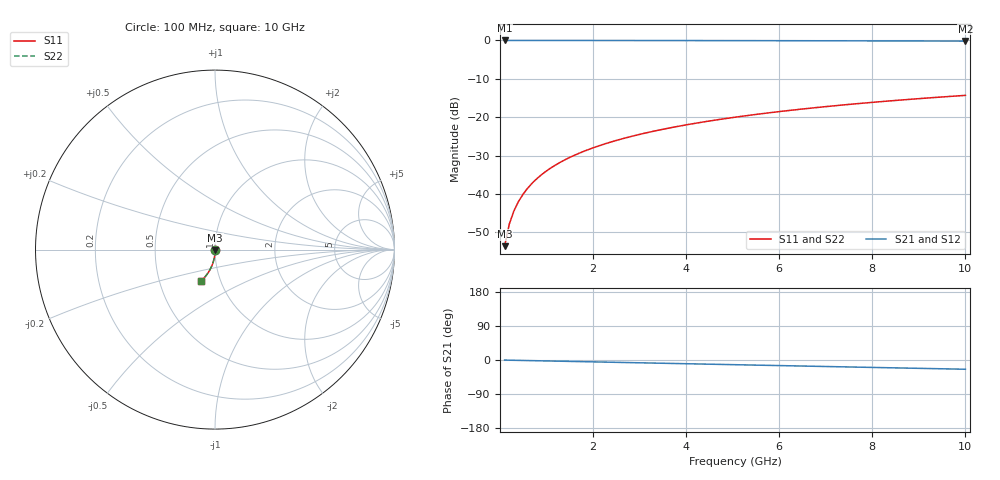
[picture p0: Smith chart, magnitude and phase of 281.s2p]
# Hz S RI R 50.00
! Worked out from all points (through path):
!   100 points, 100 MHz to 10 GHz, reference 50 ohm
!   highest |S21| = -0.01 dB at 100 MHz (marker M1); lowest = -0.2 dB at 10 GHz (marker M2)
!   group delay of S21, straight-line fit = 6.79 ps
!   lowest |S11| = -53.6 dB at 100 MHz (marker M3), VSWR 1.00, Z = 50.1 - j0.2 ohm
!   |S11| at or under -10 dB: start of sweep to end of sweep
!   |S22| runs from -53.6 to -14.3 dB; largest |S21 - S12| = 0
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1e8  0.000609 -0.002  0.9994 -0.00429  0.9994 -0.00429  0.000609 -0.002
2e8  0.000584 -0.004  0.9993 -0.00857  0.9993 -0.00857  0.000584 -0.004
3e8  0.000542 -0.00599  0.9993 -0.0129  0.9993 -0.0129  0.000542 -0.00599
4e8  0.000481 -0.00799  0.9992 -0.0171  0.9992 -0.0171  0.000481 -0.00799
5e8  0.000403 -0.00999  0.9991 -0.0214  0.9991 -0.0214  0.000403 -0.00999
6e8  0.000308 -0.012  0.9989 -0.0257  0.9989 -0.0257  0.000308 -0.012
7e8  0.000196 -0.014  0.9988 -0.03  0.9988 -0.03  0.000196 -0.014
8e8  6.58e-05 -0.016  0.9986 -0.0343  0.9986 -0.0343  6.58e-05 -0.016
9e8  -8.11e-05 -0.018  0.9984 -0.0386  0.9984 -0.0386  -8.11e-05 -0.018
1.1e9  -0.000426 -0.0219  0.998 -0.0471  0.998 -0.0471  -0.000426 -0.0219
1.4e9  -0.00107 -0.0279  0.9971 -0.06  0.9971 -0.06  -0.00107 -0.0279
1.8e9  -0.00217 -0.0358  0.9957 -0.077  0.9957 -0.077  -0.00217 -0.0358
2.1e9  -0.00318 -0.0417  0.9944 -0.0898  0.9944 -0.0898  -0.00318 -0.0417
2.5e9  -0.00475 -0.0496  0.9923 -0.1068  0.9923 -0.1068  -0.00475 -0.0496
2.9e9  -0.00659 -0.0573  0.9899 -0.1238  0.9899 -0.1238  -0.00659 -0.0573
3.4e9  -0.00926 -0.067  0.9864 -0.1449  0.9864 -0.1449  -0.00926 -0.067
4.2e9  -0.0144 -0.0821  0.9796 -0.1783  0.9796 -0.1783  -0.0144 -0.0821
5.1e9  -0.0214 -0.0986  0.9704 -0.2155  0.9704 -0.2155  -0.0214 -0.0986
5.9e9  -0.0286 -0.1128  0.9608 -0.2481  0.9608 -0.2481  -0.0286 -0.1128
6.7e9  -0.0367 -0.1264  0.95 -0.2801  0.95 -0.2801  -0.0367 -0.1264
8.4e9  -0.0569 -0.1532  0.9228 -0.346  0.9228 -0.346  -0.0569 -0.1532
1e10  -0.0791 -0.1754  0.8927 -0.4051  0.8927 -0.4051  -0.0791 -0.1754
